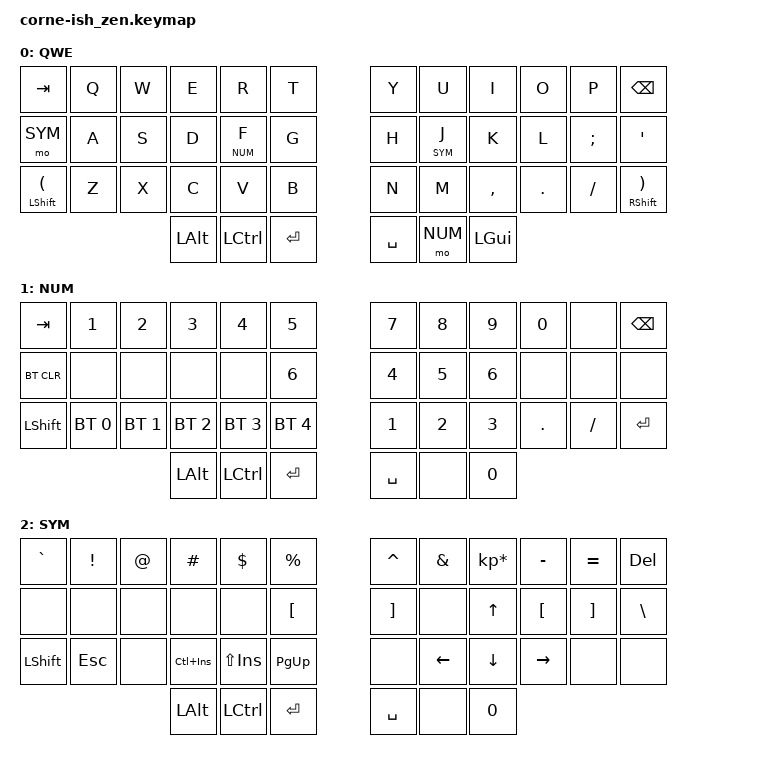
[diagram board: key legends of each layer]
/*
*
* Copyright (c) 2021 Darryl deHaan
* SPDX-License-Identifier: MIT
*
*/

#include <behaviors.dtsi>
#include <dt-bindings/zmk/keys.h>
#include <dt-bindings/zmk/bt.h>

#define QWE 0
#define NUM 1
#define SYM 2

&mt {
        tapping-term-ms = <180>;
        flavor = "balanced";
};

&lt {
        tapping-term-ms = <180>;
        flavor = "balanced";
};

/ {
        keymap {
                compatible = "zmk,keymap";

                default_layer {
                        label = "QWE";
// -----------------------------------------------------------------------------------------
// |  TAB |  Q  |  W  |  E  |  R  |  T  |   |  Y  |  U   |  I  |  O  |  P  | BKSP |
// | CTRL |  A  |  S  |  D  |  F  |  G  |   |  H  |  J   |  K  |  L  |  ;  |  '   |
// | SHFT |  Z  |  X  |  C  |  V  |  B  |   |  N  |  M   |  ,  |  .  |  /  | ESC  |
//                    | GUI | LWR | SPC |   | ENT | RSE  | ALT |
                        bindings = <
   &kp TAB        &kp Q &kp W &kp E &kp R &kp T   &kp Y &kp U  &kp I     &kp O   &kp P    &kp BSPC
   &mo SYM        &kp A &kp S &kp D &lt NUM F &kp G   &kp H &lt SYM J  &kp K     &kp L   &kp SEMI &kp SQT
   &mt LSHFT LPAR &kp Z &kp X &kp C &kp V &kp B   &kp N &kp M  &kp COMMA &kp DOT &kp FSLH &mt RSHFT RPAR
                  &kp LALT &kp LCTRL &kp RET   &kp SPACE &mo NUM &kp LGUI
                        >;
                };
                lower_layer {
                        label = "NUM";
// -----------------------------------------------------------------------------------------
// |  TAB |  1  |  2  |  3  |  4  |  5  |   |  6  |  7  |  8  |  9  |  0  | BKSP |
// | BTCLR| BT1 | BT2 | BT3 | BT4 | BT5 |   | LFT | DWN |  UP | RGT |     |      |
// | SHFT |     |     |     |     |     |   |     |     |     |     |     |      |
//                    | GUI |     | SPC |   | ENT |     | ALT |
                        bindings = <
   &kp TAB    &kp N1       &kp N2       &kp N3       &kp N4       &kp N5         &kp N7   &kp N8 &kp N9    &kp N0 &none &kp BSPC
   &bt BT_CLR &none        &none        &none        &none        &kp N6         &kp N4   &kp N5 &kp N6    &none  &none &none
   &kp LSHFT  &bt BT_SEL 0 &bt BT_SEL 1 &bt BT_SEL 2 &bt BT_SEL 3 &bt BT_SEL 4   &kp N1   &kp N2 &kp N3    &kp DOT &kp FSLH &kp RET
                           &kp LALT &kp LCTRL &kp RET                            &kp SPACE &none &kp N0
                        >;
                };

                raise_layer {
                        label = "SYM";
// -----------------------------------------------------------------------------------------
// |  TAB |  !  |  @  |  #  |  $  |  %  |   |  ^  |  &  |  *  |  (  |  )  | BKSP |
// | CTRL |     |     |     |     |     |   |  -  |  =  |  [  |  ]  |  \  |  `   |
// | SHFT |     |     |     |     |     |   |  _  |  +  |  {  |  }  | "|" |  ~   |
//                    | GUI |     | SPC |   | ENT |     | ALT |
                        bindings = <
   &kp GRAVE &kp EXCL &kp AT &kp HASH &kp DLLR    &kp PRCNT     &kp CARET &kp AMPS  &kp KP_MULTIPLY &kp MINUS &kp EQUAL &kp DEL
   &none     &none    &none  &none    &none       &kp LBKT      &kp RBKT &none &kp UP     &kp LBKT &kp RBKT &kp BSLH
   &kp LSHFT &kp ESC &none &kp LC(INS) &kp LS(INS) &kp PG_UP    &none &kp LEFT  &kp DOWN  &kp RIGHT &none &none
                    	     &kp LALT &kp LCTRL &kp RET        &kp SPACE &none &kp N0
                        >;
                };
        };
};
